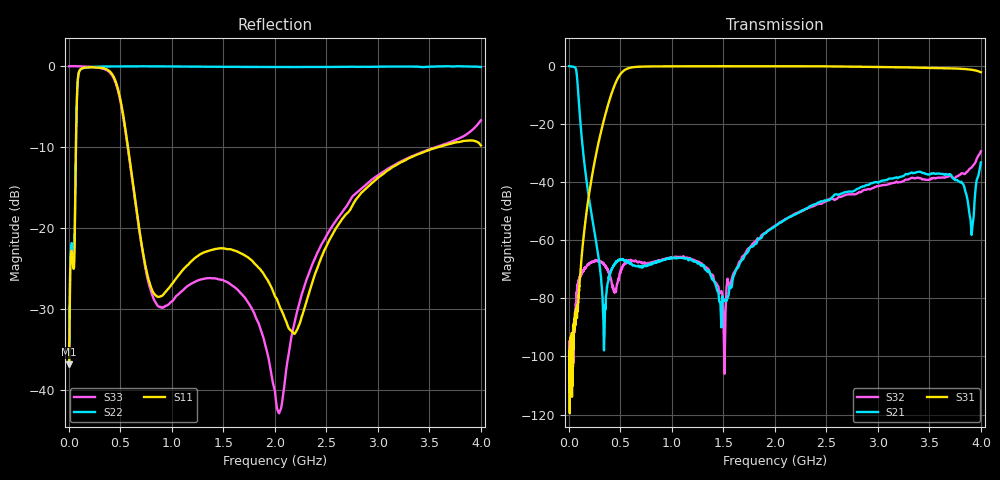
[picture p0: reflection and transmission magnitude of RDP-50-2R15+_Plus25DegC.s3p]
! Mini-Circuits
! S3P DATA File Format
! Type: Diplexer
! Model: RDP-50-2R15+
! PINOUT: Com=PORT1 , LP=PORT2 , HP=PORT3
! TEST CONDITIONS: INPUT POWER = 0 dBm @ Temperature = +25 deg C
! All S Parameters are in dB deg format
# MHz S dB R 50
!Frequency  S11 dB  S11 DEG  S12 dB  S12 DEG  S13 dB  S13 DEG
!  S21 dB  S21 DEG  S22 dB  S22 DEG  S23 dB  S23 DEG
!  S31 dB  S31 DEG  S32 dB  S32 DEG  S33 dB  S33 DEG
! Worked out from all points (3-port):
!   733 points, 1 MHz to 4 GHz, reference 50 ohm
!   strongest paths, dB at 1 MHz, 262 MHz, 670 MHz, 2.17 GHz, 4 GHz:
!     S31: -106.2, -30.6, -0.4, -0.2, -2.3
!     S21: -0.2, -60.4, -68.9, -51.6, -33.3
!     S32: -94.9, -67.2, -67.6, -51.5, -29.4
!   lowest |S11| = -36.9 dB at 1 MHz (marker M1), VSWR 1.03, Z = 51.4 + j0.52 ohm
!   |S11| at or under -10 dB: start of sweep to 67.19 MHz; 572.2 MHz to 3.594 GHz (3.022 GHz wide, 145 % of centre)
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1  -36.88 20.7  -0.17 -2.9  -100.24 83.1
   -0.18 -2.9  -37.09 19.8  -106.03 104.0
   -106.16 172.3  -94.88 -164.9  -0.05 -0.3
31  -23.40 13.9  -0.32 -89.8  -97.47 101.5
    -0.33 -89.8  -22.05 -35.5  -96.10 102.4
    -110.27 -137.6  -100.45 166.7  -0.04 -10.6
57  -19.91 -87.1  -0.55 -175.9  -86.23 156.7
    -0.55 -175.9  -19.05 -94.6  -87.39 157.1
    -85.88 154.5  -86.95 -177.7  -0.03 -19.5
100  -0.66 79.6  -14.63 19.6  -76.16 102.2
     -14.62 19.6  -0.64 132.1  -73.00 134.2
     -75.73 95.6  -72.85 133.4  -0.04 -34.4
332  -0.29 -94.9  -86.68 -98.7  -19.65 -26.4
     -85.95 -125.8  -0.07 28.3  -67.91 37.9
     -19.65 -26.3  -68.13 38.4  -0.35 -130.4
492  -3.75 173.0  -66.84 -5.6  -3.28 -128.0
     -66.65 -7.8  -0.05 14.1  -71.75 99.7
     -3.27 -128.1  -71.48 100.2  -3.95 117.6
865  -28.54 -176.1  -67.24 176.3  -0.23 91.7
     -67.54 177.7  -0.06 -2.4  -67.34 88.6
     -0.24 91.7  -67.16 90.6  -29.70 -171.0
1510  -22.56 -149.3  -80.93 171.3  -0.18 15.6
      -80.52 169.4  -0.11 -18.9  -106.36 24.8
      -0.19 15.6  -105.96 147.2  -26.59 -5.7
2010  -28.66 167.9  -54.97 -104.6  -0.17 -18.8
      -54.97 -104.6  -0.14 -28.9  -54.97 -131.4
      -0.17 -18.8  -54.98 -131.6  -41.44 -9.2
4000  -9.83 -114.2  -33.26 -32.6  -2.25 -121.7
      -33.28 -32.6  -0.13 -61.4  -29.45 -112.8
      -2.27 -121.7  -29.44 -112.9  -6.72 22.2
